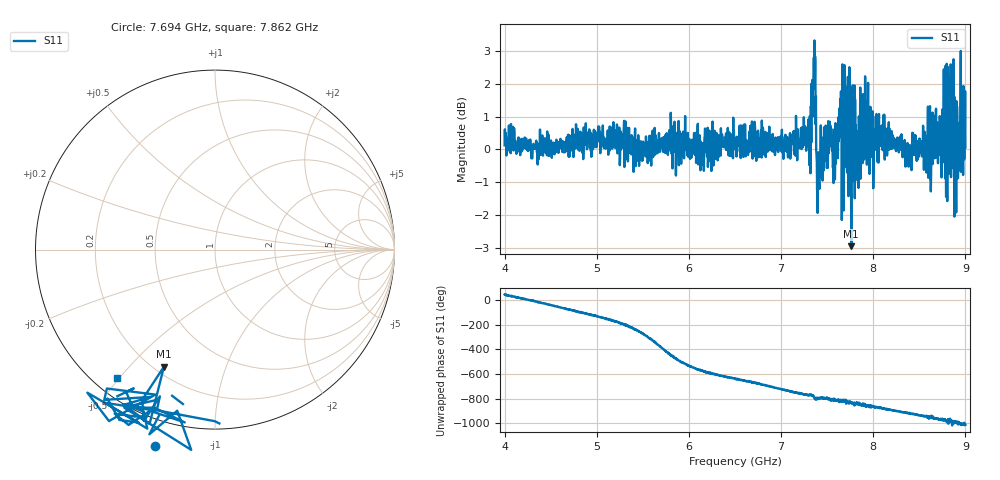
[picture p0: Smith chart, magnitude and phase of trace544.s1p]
! Created with skrf 1.8.0 (http://scikit-rf.org).
# Hz S RI R 50.0
!freq ReS11 ImS11
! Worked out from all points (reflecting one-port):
!   1601 points, 4 GHz to 9 GHz, reference 50 ohm
!   lowest |S11| = -3.0 dB at 7.762 GHz (marker M1), VSWR 5.94, Z = 11.9 - j31.4 ohm
!   phase of S11 starts at 45 deg and turns -1057 deg over the sweep
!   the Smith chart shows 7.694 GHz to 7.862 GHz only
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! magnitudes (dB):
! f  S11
! 4 GHz  0.1
! 4.625 GHz  -0.1
! 5.25 GHz  -0.5
! 5.484 GHz  0.1
! 5.828 GHz  0.7
! 5.875 GHz  -0.1
! 6.5 GHz  0.2
! 7.125 GHz  0.3
! 7.294 GHz  0.1
! 7.325 GHz  1.3
! 7.347 GHz  2.0
! 7.369 GHz  2.8
! 7.4 GHz  -0.1
! 7.409 GHz  -0.9
! 7.534 GHz  0.7
! 7.591 GHz  0.8
! 7.65 GHz  1.8
! 7.75 GHz  -0.5
! 7.762 GHz  -3.0
! 7.891 GHz  0.5
! 8.375 GHz  0.0
! 8.644 GHz  1.1
! 8.656 GHz  0.7
! 8.722 GHz  1.0
! 8.819 GHz  -0.7
! 8.906 GHz  0.4
! 8.972 GHz  0.9
! 9 GHz  0.1
